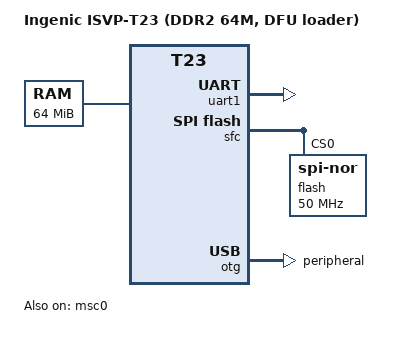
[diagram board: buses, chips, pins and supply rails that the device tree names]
// SPDX-License-Identifier: GPL-2.0+
/*
 * Ingenic ISVP-T23, DFU/USB-boot loader variant.
 *
 * Identical to t23-isvp.dts except the DWC2 OTG is dr_mode =
 * "peripheral" so the dwc2_udc_otg gadget binds (dwc2_udc_otg_bind
 * rejects "host"). Used only by isvp_t23_usbboot_defconfig - the
 * dev/flash loader that USB-boots and auto-enters DFU. Production
 * NOR uses t23-isvp.dts (dr_mode="host" for USB host + USB-NIC).
 */

/dts-v1/;

#include <dt-bindings/gpio/gpio.h>
#include "t23.dtsi"

/ {
	compatible = "ingenic,isvp-t23", "ingenic,t23";
	model = "Ingenic ISVP-T23 (DDR2 64M, DFU loader)";

	aliases {
		serial1 = &uart1;
	};

	chosen {
		stdout-path = "serial1:115200n8";
	};

	memory {
		device_type = "memory";
		reg = <0x0 0x04000000>;	/* 64 MB DDR2 (T23/T23N) */
	};
};

&uart1 {
	status = "okay";
};

&sfc {
	status = "okay";

	flash@0 {
		compatible = "jedec,spi-nor";
		reg = <0>;
		spi-max-frequency = <50000000>;
	};
};

&msc0 {
	status = "okay";
	bus-width = <4>;
	broken-cd;
};

&otg {
	status = "okay";
	dr_mode = "peripheral";		/* gadget bind for DFU/g_dnl */
};
